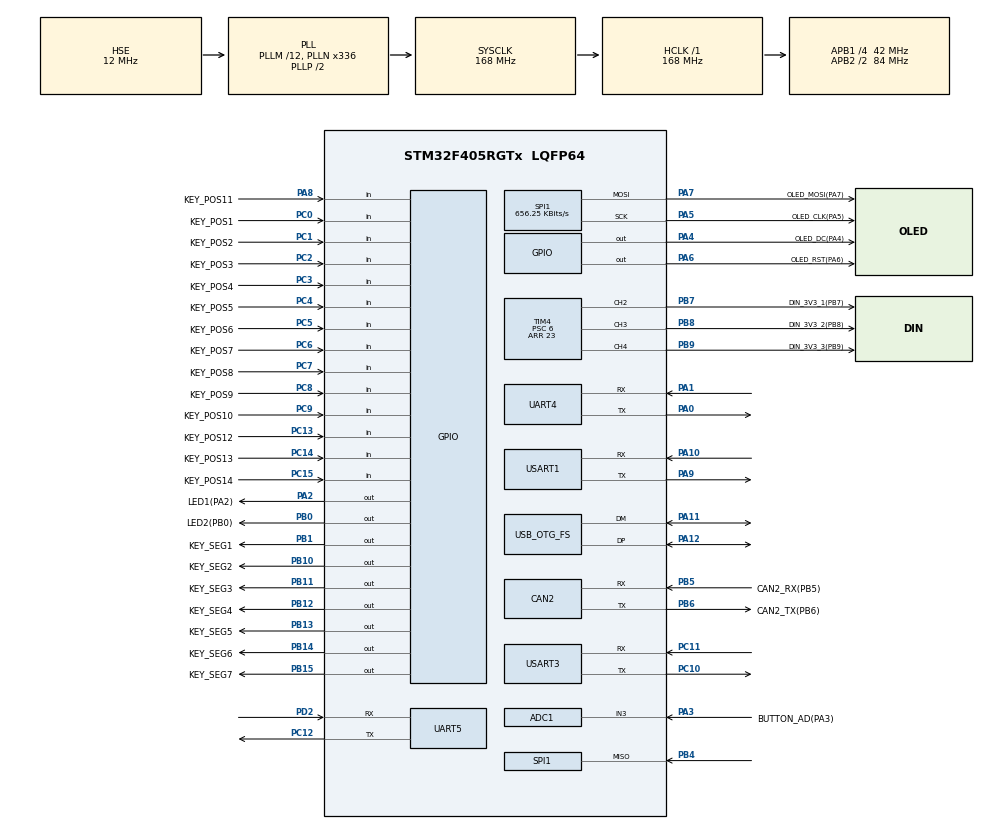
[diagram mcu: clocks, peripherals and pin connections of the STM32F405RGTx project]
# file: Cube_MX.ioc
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ADC1.Channel-0\#ChannelRegularConversion=ADC_CHANNEL_3
ADC1.NbrOfConversionFlag=1
ADC1.Rank-0\#ChannelRegularConversion=1
ADC1.SamplingTime-0\#ChannelRegularConversion=ADC_SAMPLETIME_3CYCLES
ADC1.master=1
CAN2.BS1=CAN_BS1_1TQ
CAN2.BS2=CAN_BS2_1TQ
CAN2.CalculateTimeQuantum=380.95238095238096
FREERTOS.Tasks01=defaultTask,0,128,StartDefaultTask,Default,NULL,Dynamic,NULL,NULL
Mcu.Family=STM32F4
Mcu.Name=STM32F405RGTx
Mcu.Package=LQFP64
NVIC.OTG_FS_IRQn=true\:5\:0\:false\:false\:true\:true\:true\:true
NVIC.PriorityGroup=NVIC_PRIORITYGROUP_4
NVIC.TIM4_IRQn=true\:5\:0\:false\:false\:true\:true\:true\:true
PA0-WKUP.Mode=Asynchronous
PA0-WKUP.Signal=UART4_TX
PA1.Mode=Asynchronous
PA1.Signal=UART4_RX
PA10.Mode=Asynchronous
PA10.Signal=USART1_RX
PA11.Mode=Device_Only
PA11.Signal=USB_OTG_FS_DM
PA12.Mode=Device_Only
PA12.Signal=USB_OTG_FS_DP
PA13.Mode=Serial_Wire
PA13.Signal=SYS_JTMS-SWDIO
PA14.Mode=Serial_Wire
PA14.Signal=SYS_JTCK-SWCLK
PA2.GPIO_Label=LED1(PA2)
PA2.GPIO_PuPd=GPIO_PULLDOWN
PA2.Signal=GPIO_Output
PA3.GPIO_Label=BUTTON_AD(PA3)
PA3.Signal=ADCx_IN3
PA4.GPIO_Label=OLED_DC(PA4)
PA4.GPIO_PuPd=GPIO_PULLDOWN
PA4.Signal=GPIO_Output
PA5.GPIO_Label=OLED_CLK(PA5)
PA5.Mode=Full_Duplex_Master
PA5.Signal=SPI1_SCK
PA6.GPIO_Label=OLED_RST(PA6)
PA6.GPIO_PuPd=GPIO_PULLDOWN
PA6.Signal=GPIO_Output
PA7.GPIO_Label=OLED_MOSI(PA7)
PA7.Mode=Full_Duplex_Master
PA7.Signal=SPI1_MOSI
PA8.GPIO_Label=KEY_POS11
PA8.GPIO_PuPd=GPIO_PULLDOWN
PA8.Signal=GPIO_Input
PA9.Mode=Asynchronous
PA9.Signal=USART1_TX
PB0.GPIO_Label=LED2(PB0)
PB0.GPIO_PuPd=GPIO_PULLDOWN
PB0.Signal=GPIO_Output
PB1.GPIO_Label=KEY_SEG1
PB1.GPIO_PuPd=GPIO_PULLDOWN
PB1.Signal=GPIO_Output
PB10.GPIO_Label=KEY_SEG2
PB10.GPIO_PuPd=GPIO_PULLDOWN
PB10.Signal=GPIO_Output
PB11.GPIO_Label=KEY_SEG3
PB11.GPIO_PuPd=GPIO_PULLDOWN
PB11.Signal=GPIO_Output
PB12.GPIO_Label=KEY_SEG4
PB12.GPIO_PuPd=GPIO_PULLDOWN
PB12.Signal=GPIO_Output
PB13.GPIO_Label=KEY_SEG5
PB13.GPIO_PuPd=GPIO_PULLDOWN
PB13.Signal=GPIO_Output
PB14.GPIO_Label=KEY_SEG6
PB14.GPIO_PuPd=GPIO_PULLDOWN
PB14.Signal=GPIO_Output
PB15.GPIO_Label=KEY_SEG7
PB15.GPIO_PuPd=GPIO_PULLDOWN
PB15.Signal=GPIO_Output
PB4.Mode=Full_Duplex_Master
PB4.Signal=SPI1_MISO
PB5.GPIO_Label=CAN2_RX(PB5)
PB5.Mode=Slave
PB5.Signal=CAN2_RX
PB6.GPIO_Label=CAN2_TX(PB6)
PB6.Mode=Slave
PB6.Signal=CAN2_TX
PB7.GPIO_Label=DIN_3V3_1(PB7)
PB7.GPIO_PuPd=GPIO_PULLDOWN
PB7.GPIO_Speed=GPIO_SPEED_FREQ_VERY_HIGH
PB7.Signal=S_TIM4_CH2
PB8.GPIO_Label=DIN_3V3_2(PB8)
PB8.GPIO_PuPd=GPIO_PULLDOWN
PB8.GPIO_Speed=GPIO_SPEED_FREQ_VERY_HIGH
PB8.Signal=S_TIM4_CH3
PB9.GPIO_Label=DIN_3V3_3(PB9)
PB9.GPIO_PuPd=GPIO_PULLDOWN
PB9.GPIO_Speed=GPIO_SPEED_FREQ_VERY_HIGH
PB9.Signal=S_TIM4_CH4
PC0.GPIO_Label=KEY_POS1
PC0.GPIO_PuPd=GPIO_PULLDOWN
PC0.Signal=GPIO_Input
PC1.GPIO_Label=KEY_POS2
PC1.GPIO_PuPd=GPIO_PULLDOWN
PC1.Signal=GPIO_Input
PC10.Mode=Asynchronous
PC10.Signal=USART3_TX
PC11.Mode=Asynchronous
PC11.Signal=USART3_RX
PC12.Mode=Asynchronous
PC12.Signal=UART5_TX
PC13-ANTI_TAMP.GPIO_Label=KEY_POS12
PC13-ANTI_TAMP.GPIO_PuPd=GPIO_PULLDOWN
PC13-ANTI_TAMP.Signal=GPIO_Input
PC14-OSC32_IN.GPIO_Label=KEY_POS13
PC14-OSC32_IN.GPIO_PuPd=GPIO_PULLDOWN
PC14-OSC32_IN.Signal=GPIO_Input
PC15-OSC32_OUT.GPIO_Label=KEY_POS14
PC15-OSC32_OUT.GPIO_PuPd=GPIO_PULLDOWN
PC15-OSC32_OUT.Signal=GPIO_Input
PC2.GPIO_Label=KEY_POS3
PC2.GPIO_PuPd=GPIO_PULLDOWN
PC2.Signal=GPIO_Input
PC3.GPIO_Label=KEY_POS4
PC3.GPIO_PuPd=GPIO_PULLDOWN
PC3.Signal=GPIO_Input
PC4.GPIO_Label=KEY_POS5
PC4.GPIO_PuPd=GPIO_PULLDOWN
PC4.Signal=GPIO_Input
PC5.GPIO_Label=KEY_POS6
PC5.GPIO_PuPd=GPIO_PULLDOWN
PC5.Signal=GPIO_Input
PC6.GPIO_Label=KEY_POS7
PC6.GPIO_PuPd=GPIO_PULLDOWN
PC6.Signal=GPIO_Input
PC7.GPIO_Label=KEY_POS8
PC7.GPIO_PuPd=GPIO_PULLDOWN
PC7.Signal=GPIO_Input
PC8.GPIO_Label=KEY_POS9
PC8.GPIO_PuPd=GPIO_PULLDOWN
PC8.Signal=GPIO_Input
PC9.GPIO_Label=KEY_POS10
PC9.GPIO_PuPd=GPIO_PULLDOWN
PC9.Signal=GPIO_Input
PD2.Mode=Asynchronous
PD2.Signal=UART5_RX
PH0-OSC_IN.Mode=HSE-External-Oscillator
PH0-OSC_IN.Signal=RCC_OSC_IN
PH1-OSC_OUT.Mode=HSE-External-Oscillator
PH1-OSC_OUT.Signal=RCC_OSC_OUT
ProjectManager.HeapSize=0x200
ProjectManager.StackSize=0x400
ProjectManager.TargetToolchain=MDK-ARM V5.27
RCC.48MHZClocksFreq_Value=48000000
RCC.AHBFreq_Value=168000000
RCC.APB1CLKDivider=RCC_HCLK_DIV4
RCC.APB1Freq_Value=42000000
RCC.APB1TimFreq_Value=84000000
RCC.APB2CLKDivider=RCC_HCLK_DIV2
RCC.APB2Freq_Value=84000000
RCC.APB2TimFreq_Value=168000000
RCC.CortexFreq_Value=168000000
RCC.HCLKFreq_Value=168000000
RCC.HSE_VALUE=12000000
RCC.HSI_VALUE=16000000
RCC.LSE_VALUE=32768
RCC.PLLM=12
RCC.PLLN=336
RCC.PLLQ=7
RCC.SYSCLKFreq_VALUE=168000000
RCC.SYSCLKSource=RCC_SYSCLKSOURCE_PLLCLK
RCC.VCOOutputFreq_Value=336000000
SH.ADCx_IN3.0=ADC1_IN3,IN3
SH.S_TIM4_CH2.0=TIM4_CH2,PWM Generation2 CH2
SH.S_TIM4_CH3.0=TIM4_CH3,PWM Generation3 CH3
SH.S_TIM4_CH4.0=TIM4_CH4,PWM Generation4 CH4
SPI1.BaudRatePrescaler=SPI_BAUDRATEPRESCALER_128
SPI1.CLKPhase=SPI_PHASE_1EDGE
SPI1.CLKPolarity=SPI_POLARITY_LOW
SPI1.CalculateBaudRate=656.25 KBits/s
SPI1.Direction=SPI_DIRECTION_2LINES
SPI1.Mode=SPI_MODE_MASTER
SPI1.VirtualType=VM_MASTER
TIM4.AutoReloadPreload=TIM_AUTORELOAD_PRELOAD_ENABLE
TIM4.Channel-PWM\ Generation2\ CH2=TIM_CHANNEL_2
TIM4.Channel-PWM\ Generation3\ CH3=TIM_CHANNEL_3
TIM4.Channel-PWM\ Generation4\ CH4=TIM_CHANNEL_4
TIM4.Period=23
TIM4.Prescaler=6
TIM4.Pulse-PWM\ Generation2\ CH2=12
TIM4.Pulse-PWM\ Generation3\ CH3=12
TIM4.Pulse-PWM\ Generation4\ CH4=12
UART4.VirtualMode=Asynchronous
UART5.VirtualMode=Asynchronous
USART1.VirtualMode=VM_ASYNC
USART3.VirtualMode=VM_ASYNC
USB_DEVICE.CLASS_NAME_FS=HID
USB_DEVICE.VirtualMode-HID_FS=Hid
USB_DEVICE.VirtualModeFS=Hid_FS
USB_OTG_FS.VirtualMode=Device_Only
VP_ADC1_TempSens_Input.Mode=IN-TempSens
VP_ADC1_Vref_Input.Mode=IN-Vrefint
VP_FREERTOS_VS_CMSIS_V1.Mode=CMSIS_V1
VP_TIM4_VS_ClockSourceINT.Mode=Internal
VP_USB_DEVICE_VS_USB_DEVICE_HID_FS.Mode=HID_FS
board=custom

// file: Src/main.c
/* USER CODE BEGIN Header */
/**
  ******************************************************************************
  * @file           : main.c
  * @brief          : Main program body
  ******************************************************************************
  * @attention
  *
  * <h2><center>&copy; Copyright (c) 2020 STMicroelectronics.
  * All rights reserved.</center></h2>
  *
  * This software component is licensed by ST under Ultimate Liberty license
  * SLA0044, the "License"; You may not use this file except in compliance with
  * the License. You may obtain a copy of the License at:
  *                             www.st.com/SLA0044
  *
  ******************************************************************************
  */
/* USER CODE END Header */

#include "main.h"
#include "cmsis_os.h"
#include "adc.h"
#include "can.h"
#include "spi.h"
#include "tim.h"
#include "usart.h"
#include "usb_device.h"
#include "gpio.h"

/* USER CODE BEGIN Includes */
#include "bsp_adc.h"
#include "bsp_delay.h"
#include "bsp_oled.h"
#include "bsp_gui.h"
#include "bsp_key.h"
/* USER CODE END Includes */

void SystemClock_Config(void);
void MX_FREERTOS_Init(void);

int main(void)
{

  /* MCU Configuration--------------------------------------------------------*/

  /* Reset of all peripherals, Initializes the Flash interface and the Systick. */
 HAL_Init();

  /* Configure the system clock */
  SystemClock_Config();

  /* Initialize all configured peripherals */
  MX_GPIO_Init();
  MX_ADC1_Init();
  MX_CAN2_Init();
  MX_SPI1_Init();
  MX_TIM4_Init();
  MX_UART4_Init();
  MX_UART5_Init();
  MX_USART3_UART_Init();
  MX_USART1_UART_Init();
  /* USER CODE BEGIN 2 */
  init_vrefint_reciprocal();
  mx_oled_init();
  oled_gui_init();
  /* USER CODE END 2 */

  /* Call init function for freertos objects (in freertos.c) */
  MX_FREERTOS_Init();

  /* Start scheduler */
  osKernelStart();

  /* We should never get here as control is now taken by the scheduler */

  /* Infinite loop */
  while (1)
  {

  }
}

void SystemClock_Config(void)
{
  RCC_OscInitTypeDef RCC_OscInitStruct = {0};
  RCC_ClkInitTypeDef RCC_ClkInitStruct = {0};

  /** Configure the main internal regulator output voltage
  */
  __HAL_RCC_PWR_CLK_ENABLE();
  __HAL_PWR_VOLTAGESCALING_CONFIG(PWR_REGULATOR_VOLTAGE_SCALE1);
  /** Initializes the CPU, AHB and APB busses clocks
  */
  RCC_OscInitStruct.OscillatorType = RCC_OSCILLATORTYPE_HSE;
  RCC_OscInitStruct.HSEState = RCC_HSE_ON;
  RCC_OscInitStruct.PLL.PLLState = RCC_PLL_ON;
  RCC_OscInitStruct.PLL.PLLSource = RCC_PLLSOURCE_HSE;
  RCC_OscInitStruct.PLL.PLLM = 12;
  RCC_OscInitStruct.PLL.PLLN = 336;
  RCC_OscInitStruct.PLL.PLLP = RCC_PLLP_DIV2;
  RCC_OscInitStruct.PLL.PLLQ = 7;
  if (HAL_RCC_OscConfig(&RCC_OscInitStruct) != HAL_OK)
  {
    Error_Handler();
  }
  /** Initializes the CPU, AHB and APB busses clocks
  */
  RCC_ClkInitStruct.ClockType = RCC_CLOCKTYPE_HCLK|RCC_CLOCKTYPE_SYSCLK
                              |RCC_CLOCKTYPE_PCLK1|RCC_CLOCKTYPE_PCLK2;
  RCC_ClkInitStruct.SYSCLKSource = RCC_SYSCLKSOURCE_PLLCLK;
  RCC_ClkInitStruct.AHBCLKDivider = RCC_SYSCLK_DIV1;
  RCC_ClkInitStruct.APB1CLKDivider = RCC_HCLK_DIV4;
  RCC_ClkInitStruct.APB2CLKDivider = RCC_HCLK_DIV2;

  if (HAL_RCC_ClockConfig(&RCC_ClkInitStruct, FLASH_LATENCY_5) != HAL_OK)
  {
    Error_Handler();
  }
}

void Error_Handler(void)
{
}

/************************ (C) COPYRIGHT STMicroelectronics *****END OF FILE****/

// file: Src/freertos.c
/* USER CODE BEGIN Header */
/**
  ******************************************************************************
  * File Name          : freertos.c
  * Description        : Code for freertos applications
  ******************************************************************************
  * @attention
  *
  * <h2><center>&copy; Copyright (c) 2020 STMicroelectronics.
  * All rights reserved.</center></h2>
  *
  * This software component is licensed by ST under Ultimate Liberty license
  * SLA0044, the "License"; You may not use this file except in compliance with
  * the License. You may obtain a copy of the License at:
  *                             www.st.com/SLA0044
  *
  ******************************************************************************
  */
/* USER CODE END Header */

#include "FreeRTOS.h"
#include "task.h"
#include "main.h"
#include "cmsis_os.h"

/* USER CODE BEGIN Includes */
#include "keyboard_task.h"
#include "key_task.h"
#include "oled_task.h"
#include "ws2812b_task.h"
#include "bsp_bulehid.h"
/* USER CODE END Includes */

osThreadId defaultTaskHandle;

void StartDefaultTask(void const * argument);

extern void MX_USB_DEVICE_Init(void);
void MX_FREERTOS_Init(void); /* (MISRA C 2004 rule 8.1) */

/* GetIdleTaskMemory prototype (linked to static allocation support) */
void vApplicationGetIdleTaskMemory( StaticTask_t **ppxIdleTaskTCBBuffer, StackType_t **ppxIdleTaskStackBuffer, uint32_t *pulIdleTaskStackSize );

/* USER CODE BEGIN GET_IDLE_TASK_MEMORY */
static StaticTask_t xIdleTaskTCBBuffer;
static StackType_t xIdleStack[configMINIMAL_STACK_SIZE];

void vApplicationGetIdleTaskMemory( StaticTask_t **ppxIdleTaskTCBBuffer, StackType_t **ppxIdleTaskStackBuffer, uint32_t *pulIdleTaskStackSize )
{
  *ppxIdleTaskTCBBuffer = &xIdleTaskTCBBuffer;
  *ppxIdleTaskStackBuffer = &xIdleStack[0];
  *pulIdleTaskStackSize = configMINIMAL_STACK_SIZE;
  /* place for user code */
}
/* USER CODE END GET_IDLE_TASK_MEMORY */

void MX_FREERTOS_Init(void) {

  /* USER CODE BEGIN RTOS_QUEUES */
  /* add queues, ... */
	keyboard_task_creat();
	key_task_creat();
	oled_task_creat();
	ws2812b_task_creat();
  /* USER CODE END RTOS_QUEUES */

  /* Create the thread(s) */
  /* definition and creation of defaultTask */
  osThreadDef(defaultTask, StartDefaultTask, osPriorityNormal, 0, 128);
  defaultTaskHandle = osThreadCreate(osThread(defaultTask), NULL);

}

void StartDefaultTask(void const * argument)
{
  /* init code for USB_DEVICE */
  MX_USB_DEVICE_Init();
  /* USER CODE BEGIN StartDefaultTask */
  /* Infinite loop */
  for(;;)
  {
	HAL_GPIO_TogglePin(LED1_GPIO_Port,LED1_Pin);
	HAL_GPIO_TogglePin(LED2_GPIO_Port,LED2_Pin);
    osDelay(500);
  }
  /* USER CODE END StartDefaultTask */
}

/************************ (C) COPYRIGHT STMicroelectronics *****END OF FILE****/
